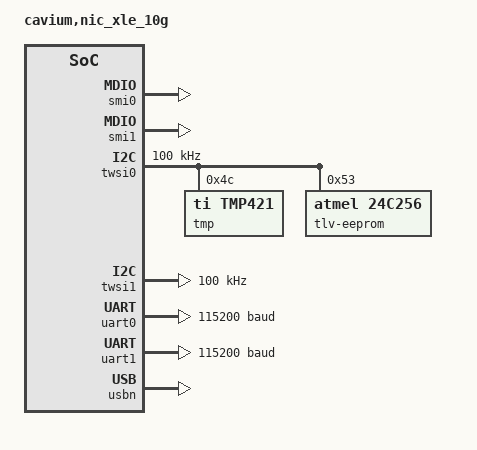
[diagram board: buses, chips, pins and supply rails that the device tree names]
/dts-v1/;
/*
 * Cavium NIC XLE 10G board
 */
/ {
	model = "cavium,nic_xle_10g";
	compatible = "cavium,nic_xle_10g";
	#address-cells = <2>;
	#size-cells = <2>;
	interrupt-parent = <&ciu>;

	soc@0 {
		compatible = "simple-bus";
		#address-cells = <2>;
		#size-cells = <2>;
		ranges; /* Direct mapping */

		ciu: interrupt-controller@1070000000000 {
			compatible = "cavium,octeon-3860-ciu";
			interrupt-controller;
			/* Interrupts are specified by two parts:
			 * 1) Controller register (0 or 1)
			 * 2) Bit within the register (0..63)
			 */
			#interrupt-cells = <2>;
			reg = <0x10700 0x00000000 0x0 0x7000>;
		};

		gpio: gpio-controller@1070000000800 {
			#gpio-cells = <2>;
			compatible = "cavium,octeon-3860-gpio";
			reg = <0x10700 0x00000800 0x0 0x100>;
			gpio-controller;
			/* Interrupts are specified by two parts:
			 * 1) GPIO pin number (0..15)
			 * 2) Triggering (1 - edge rising
			 *		  2 - edge falling
			 *		  4 - level active high
			 *		  8 - level active low)
			 */
			interrupt-controller;
			#interrupt-cells = <2>;
			/* The GPIO pins connect to 16 consecutive CUI bits */
			interrupts = <0 16>; /* <0 17> <0 18> <0 19>
				     <0 20> <0 21> <0 22> <0 23>
				     <0 24> <0 25> <0 26> <0 27>
				     <0 28> <0 29> <0 30> <0 31>; */
		};

		smi0: mdio@1180000001800 {
			compatible = "cavium,octeon-3860-mdio";
			#address-cells = <1>;
			#size-cells = <0>;
			reg = <0x11800 0x00001800 0x0 0x40>;
		};

		smi1: mdio@1180000001900 {
			compatible = "cavium,octeon-3860-mdio";
			#address-cells = <1>;
			#size-cells = <0>;
			reg = <0x11800 0x00001900 0x0 0x40>;
		};

		pip: pip@11800a0000000 {
			compatible = "cavium,octeon-3860-pip";
			#address-cells = <1>;
			#size-cells = <0>;
			reg = <0x11800 0xa0000000 0x0 0x2000>;

			interface@0 {
				compatible = "cavium,octeon-3860-pip-interface";
				#address-cells = <1>;
				#size-cells = <0>;
				reg = <0>; /* interface */
			};

			interface@1 {
				compatible = "cavium,octeon-3860-pip-interface";
				#address-cells = <1>;
				#size-cells = <0>;
				reg = <1>; /* interface */
			};
		};

		twsi0: i2c@1180000001000 {
			#address-cells = <1>;
			#size-cells = <0>;
			compatible = "cavium,octeon-3860-twsi";
			reg = <0x11800 0x00001000 0x0 0x200>;
			interrupts = <0 45>;
			clock-frequency = <100000>;

			tmp@4c {
				compatible = "ti,tmp421";
				reg = <0x4c>;
			};
			tlv-eeprom@53 {
				compatible = "atmel,24c256";
				reg = <0x53>;
				pagesize = <64>;
			};
		};

		twsi1: i2c@1180000001200 {
			#address-cells = <1>;
			#size-cells = <0>;
			compatible = "cavium,octeon-3860-twsi";
			reg = <0x11800 0x00001200 0x0 0x200>;
			interrupts = <0 59>;
			clock-frequency = <100000>;
		};

		uart0: serial@1180000000800 {
			compatible = "cavium,octeon-3860-uart","ns16550";
			reg = <0x11800 0x00000800 0x0 0x400>;
			clock-frequency = <0>;
			current-speed = <115200>;
			reg-shift = <3>;
			interrupts = <0 34>;
		};

		uart1: serial@1180000000c00 {
			compatible = "cavium,octeon-3860-uart","ns16550";
			reg = <0x11800 0x00000c00 0x0 0x400>;
			clock-frequency = <0>;
			current-speed = <115200>;
			reg-shift = <3>;
			interrupts = <0 35>;
		};


		bootbus: bootbus@1180000000000 {
			compatible = "cavium,octeon-3860-bootbus";
			reg = <0x11800 0x00000000 0x0 0x200>;
			/* The chip select number and offset */
			#address-cells = <2>;
			/* The size of the chip select region */
			#size-cells = <1>;
			ranges = <0 0  0       0x1ec00000  0x1400000>,
				 <1 0  0x10000 0x30000000  0>,
				 <2 0  0x10000 0x40000000  0>,
				 <3 0  0       0x1d000000  0x10000>,
				 <4 0  0x10000 0x50000000  0>,
				 <5 0  0x10000 0x60000000  0>,
				 <6 0  0x10000 0x70000000  0>,
				 <7 0  0x10000 0x80000000  0>;

			cavium,cs-config@0 {
				compatible = "cavium,octeon-3860-bootbus-config";
				cavium,cs-index = <0>;
				cavium,t-adr  = <10>;
				cavium,t-ce   = <50>;
				cavium,t-oe   = <50>;
				cavium,t-we   = <35>;
				cavium,t-rd-hld = <25>;
				cavium,t-wr-hld = <35>;
				cavium,t-pause  = <0>;
				cavium,t-wait   = <300>;
				cavium,t-page   = <25>;
				cavium,t-rd-dly = <0>;

				cavium,pages     = <0>;
				cavium,bus-width = <8>;
			};
			cavium,cs-config@3 {
				compatible = "cavium,octeon-3860-bootbus-config";
				cavium,cs-index = <3>;
				cavium,t-adr  = <0>;
				cavium,t-ce   = <30>;
				cavium,t-oe   = <125>;
				cavium,t-we   = <150>;
				cavium,t-rd-hld = <100>;
				cavium,t-wr-hld = <30>;
				cavium,t-pause  = <0>;
				cavium,t-wait   = <30>;
				cavium,t-page   = <300>;
				cavium,t-rd-dly = <0>;

				cavium,pages     = <0>;
				cavium,wait-mode;
				cavium,bus-width = <16>;
			};

			flash0: nor@0,0 {
				compatible = "cfi-flash";
				reg = <0 0 0x1000000>;
				#address-cells = <1>;
				#size-cells = <1>;

				partition@0 {
					label = "bootloader";
					reg = <0x0 0x100000>;
					read-only;
				};
				partition@100000 {
					label = "kernel";
					reg = <0x100000 0x280000>;
				};
				partition@380000 {
					label = "cramfs";
					reg = <0x480000 0x460000>;
				};
				partition@7e0000 {
					label = "jffs2";
					reg = <0x7e0000 800000>;
				};
				partition@fe0000 {
					label = "environment";
					reg = <0xfe0000 0x20000>;
					read-only;
				};
			};

			compact-flash@3,0 {
				compatible = "cavium,ebt3000-compact-flash";
				reg = <3 0 0x10000>;
				cavium,bus-width = <16>;
			};
		};

		dma0: dma-engine@1180000000100 {
			compatible = "cavium,octeon-5750-bootbus-dma";
			reg = <0x11800 0x00000100 0x0 0x8>;
			interrupts = <0 63>;
		};
		dma1: dma-engine@1180000000108 {
			compatible = "cavium,octeon-5750-bootbus-dma";
			reg = <0x11800 0x00000108 0x0 0x8>;
			interrupts = <0 63>;
		};

		usbn: usbn@1180068000000 {
			compatible = "cavium,octeon-5750-usbn";
			#address-cells = <2>;
			#size-cells = <2>;
			reg = <0x11800 0x68000000 0x0 0x1000>;
			ranges; /* Direct mapping */
			/* 12MHz, 24MHz and 48MHz allowed */
			refclk-frequency = <48000000>;
			/* Either "crystal" or "external" */
			refclk-type = "external";

			usbc@16f0010000000 {
				compatible = "cavium,octeon-5750-usbc";
				reg = <0x16f00 0x10000000 0x0 0x50000>;
			};
		};
	};

	aliases {
		pip = &pip;
		smi0 = &smi0;
		twsi0 = &twsi0;
		twsi1 = &twsi1;
		uart0 = &uart0;
		uart1 = &uart1;
		flash0 = &flash0;
	};
 };
